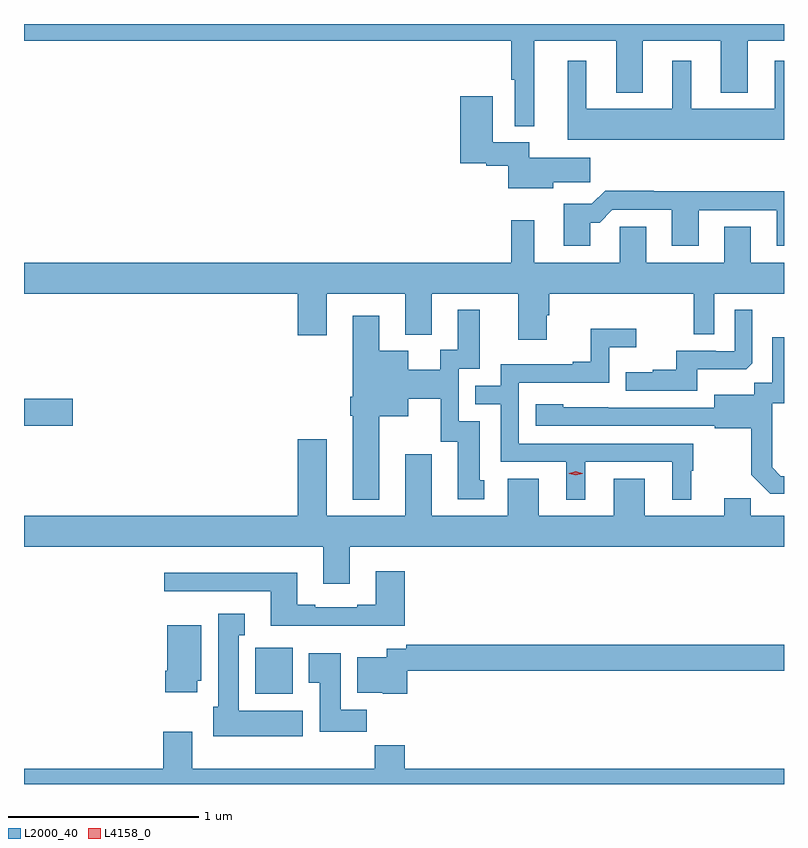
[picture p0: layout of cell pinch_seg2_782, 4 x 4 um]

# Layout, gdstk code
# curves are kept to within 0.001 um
import gdstk
lib = gdstk.Library(unit=1e-6, precision=1e-09)
def R(c, l, rs):  # rectangles x0, y0, x1, y1
    for r in rs: c.add(gdstk.rectangle(r[:2], r[2:], *l))
def P(c, l, *ps):  # polygons
    for p in ps: c.add(gdstk.Polygon(p, *l))
L2000_40 = (2000, 40)
L4158_0 = (4158, 0)

pinch_seg2_782 = lib.new_cell('pinch_seg2_782')
R(pinch_seg2_782, L2000_40, [(698.828,612.23,699.025,612.472), (697.611,613.642,697.867,613.784)])
P(pinch_seg2_782, L2000_40, [(701.419,615.668),(701.611,615.668),(701.611,615.756),(697.611,615.756),(697.611,615.668),(700.176,615.668),(700.176,615.463),(700.193,615.463),(700.193,615.219),(700.297,615.219),(700.297,615.668),(700.727,615.668),(700.727,615.395),(700.867,615.395),(700.867,615.668),(701.279,615.668),(701.279,615.395),(701.419,615.395)],
  [(701.611,615.562),(701.561,615.562),(701.561,615.31),(701.122,615.31),(701.122,615.562),(701.024,615.562),(701.024,615.31),(700.57,615.31),(700.57,615.562),(700.472,615.562),(700.472,615.146),(701.611,615.146)],
  [(700.396,614.923),(700.591,614.923),(700.591,615.052),(700.27,615.052),(700.27,615.133),(700.078,615.133),(700.078,615.376),(699.908,615.376),(699.908,615.023),(700.044,615.023),(700.044,615.011),(700.16,615.011),(700.16,614.891),(700.396,614.891)],
  [(700.591,614.711),(700.64,614.711),(700.707,614.778),(701.021,614.778),(701.021,614.589),(701.161,614.589),(701.161,614.775),(701.573,614.775),(701.573,614.589),(701.611,614.589),(701.611,614.876),(700.925,614.876),(700.925,614.879),(700.67,614.879),(700.6,614.809),(700.451,614.809),(700.451,614.589),(700.591,614.589)],
  [(700.297,614.722),(700.176,614.722),(700.176,614.5),(697.611,614.5),(697.611,614.336),(699.053,614.336),(699.053,614.118),(699.205,614.118),(699.205,614.336),(699.617,614.336),(699.617,614.12),(699.757,614.12),(699.757,614.336),(700.211,614.336),(700.211,614.094),(700.363,614.094),(700.363,614.223),(700.376,614.223),(700.376,614.336),(701.136,614.336),(701.136,614.122),(701.244,614.122),(701.244,614.336),(701.611,614.336),(701.611,614.5),(701.437,614.5),(701.437,614.69),(701.297,614.69),(701.297,614.5),(700.885,614.5),(700.885,614.69),(700.746,614.69),(700.746,614.5),(700.297,614.5)],
  [(699.481,613.691),(699.634,613.691),(699.634,613.784),(699.804,613.784),(699.804,613.557),(699.893,613.557),(699.893,613.254),(700.033,613.254),(700.033,613.356),(700.009,613.356),(700.009,613.665),(699.9,613.665),(699.9,613.941),(700.009,613.941),(700.009,614.251),(699.893,614.251),(699.893,614.042),(699.803,614.042),(699.803,613.936),(699.634,613.936),(699.634,614.035),(699.481,614.035),(699.481,614.221),(699.341,614.221),(699.341,613.795),(699.329,613.795),(699.329,613.695),(699.341,613.695),(699.341,613.253),(699.481,613.253)],
  [(701.155,613.94),(701.413,613.94),(701.445,613.971),(701.445,614.251),(701.352,614.251),(701.352,614.034),(701.252,614.034),(701.252,614.037),(701.045,614.037),(701.045,613.936),(700.921,613.936),(700.921,613.924),(700.777,613.924),(700.777,613.827),(701.155,613.827)],
  [(700.564,613.452),(701.024,613.452),(701.024,613.253),(701.122,613.253),(701.122,613.404),(701.134,613.404),(701.134,613.548),(700.215,613.548),(700.215,613.869),(700.692,613.869),(700.692,614.054),(700.834,614.054),(700.834,614.153),(700.594,614.153),(700.594,613.978),(700.499,613.978),(700.499,613.965),(700.119,613.965),(700.119,613.851),(699.985,613.851),(699.985,613.755),(700.119,613.755),(700.119,613.452),(700.466,613.452),(700.466,613.253),(700.564,613.253)],
  [(701.611,613.377),(701.595,613.377),(701.548,613.424),(701.548,613.519),(701.55,613.519),(701.55,613.76),(701.611,613.76),(701.611,614.107),(701.549,614.107),(701.549,613.868),(701.454,613.868),(701.454,613.804),(701.243,613.804),(701.243,613.737),(700.449,613.738),(700.449,613.756),(700.305,613.756),(700.305,613.641),(701.247,613.641),(701.247,613.629),(701.439,613.629),(701.439,613.383),(701.539,613.283),(701.611,613.283)],
  [(699.325,613.004),(701.611,613.004),(701.611,613.168),(701.435,613.168),(701.435,613.259),(701.297,613.259),(701.297,613.168),(700.879,613.168),(700.879,613.363),(700.715,613.363),(700.715,613.168),(700.321,613.168),(700.321,613.363),(700.157,613.363),(700.157,613.168),(699.757,613.168),(699.757,613.492),(699.617,613.492),(699.617,613.168),(699.205,613.168),(699.205,613.57),(699.053,613.57),(699.053,613.168),(697.611,613.168),(697.611,613.004),(699.185,613.004),(699.185,612.81),(699.325,612.81)],
  [(699.614,612.877),(699.461,612.877),(699.461,612.7),(699.365,612.7),(699.365,612.687),(699.145,612.687),(699.145,612.7),(699.049,612.7),(699.049,612.868),(698.349,612.868),(698.349,612.771),(698.909,612.771),(698.909,612.59),(699.614,612.59)],
  [(699.079,612.142),(698.74,612.142),(698.74,612.539),(698.773,612.539),(698.773,612.652),(698.633,612.652),(698.633,612.162),(698.606,612.162),(698.606,612.008),(699.079,612.008)],
  [(698.524,612.3),(698.545,612.3),(698.545,612.592),(698.366,612.592),(698.366,612.352),(698.354,612.352),(698.354,612.24),(698.524,612.24)],
  [(699.628,612.352),(701.611,612.352),(701.611,612.488),(699.622,612.488),(699.622,612.468),(699.519,612.468),(699.519,612.424),(699.365,612.424),(699.365,612.236),(699.498,612.236),(699.498,612.23),(699.628,612.23)],
  [(699.416,612.148),(699.277,612.148),(699.277,612.445),(699.11,612.445),(699.11,612.289),(699.167,612.289),(699.167,612.03),(699.416,612.03)],
  [(701.611,611.836),(699.614,611.836),(699.614,611.96),(699.457,611.96),(699.457,611.836),(698.497,611.836),(698.497,612.031),(698.345,612.031),(698.345,611.836),(697.611,611.836),(697.611,611.756),(701.611,611.756)])
P(pinch_seg2_782, L4158_0, [(700.515,613.381),(700.48,613.39),(700.479,613.391),(700.48,613.391),(700.515,613.401),(700.55,613.391),(700.551,613.391),(700.55,613.39)])

lib.write_gds('pinch_seg2_782.gds')
